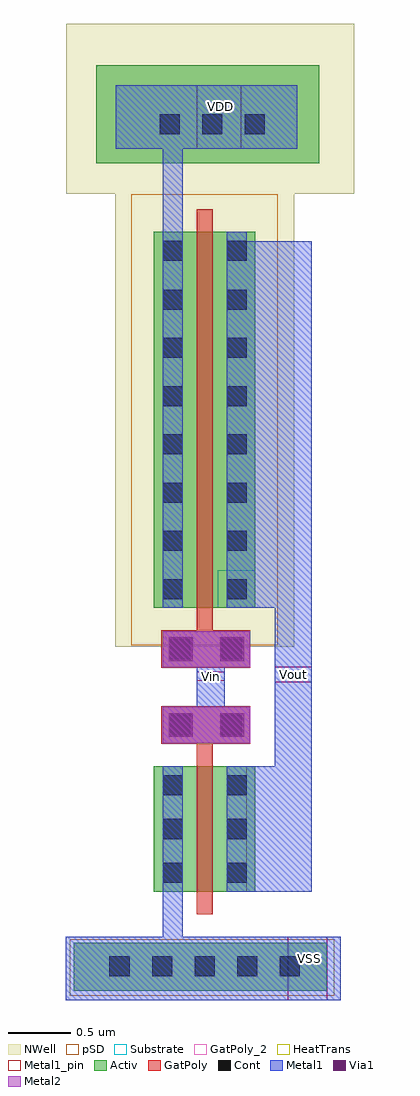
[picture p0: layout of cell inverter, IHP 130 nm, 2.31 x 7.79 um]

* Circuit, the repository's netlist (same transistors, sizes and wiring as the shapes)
** sch_path: /home/jsmoya07/Documents/inverter_tutorial/xschem/inverter.sch
.subckt inverter VDD Vout Vin VSS
*.PININFO Vin:I VDD:B Vout:B VSS:B
M1 Vout Vin VSS VSS sg13_lv_nmos w=1u l=0.13u ng=1 m=1
M2 Vout Vin VDD VDD sg13_lv_pmos w=3u l=0.13u ng=1 m=1
.ends
.end

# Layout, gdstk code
import gdstk
lib = gdstk.Library(unit=1e-6, precision=1e-09)
def R(c, l, rs):  # rectangles x0, y0, x1, y1
    for r in rs: c.add(gdstk.rectangle(r[:2], r[2:], *l))
def A(c, l, x, y, w, h, nx, ny, dx, dy):  # array of equal rectangles
    R(c, l, [(x+i*dx, y+j*dy, x+i*dx+w, y+j*dy+h) for i in range(nx) for j in range(ny)])
Activ = (1, 0)
GatPoly = (5, 0)
GatPoly_2 = (5, 2)
Cont = (6, 0)
Metal1 = (8, 0)
Metal1_pin = (8, 2)
Metal2 = (10, 0)
pSD = (14, 0)
Via1 = (19, 0)
NWell = (31, 0)
Substrate = (40, 0)
HeatTrans = (51, 0)

pmos = lib.new_cell('pmos')
R(pmos, Activ, [(0,0,0.3,0.3), (0,0,0.81,3), (0.51,0,0.81,0.3)])
R(pmos, GatPoly, [(0.34,-0.18,0.47,3.18), (0.34,-0.18,0.47,3.18)])
A(pmos, Cont, 0.07, 0.07, 0.16, 0.16, 1, 7, 0, 0.385)
A(pmos, Cont, 0.58, 0.07, 0.16, 0.16, 1, 7, 0, 0.385)
R(pmos, Cont, [(0.07,2.77,0.23,2.93), (0.58,2.77,0.74,2.93)])
R(pmos, Metal1, [(0.07,0,0.23,3), (0.07,0,0.23,3), (0.58,0,0.74,3), (0.58,0,0.74,3)])
R(pmos, pSD, [(-0.18,-0.3,0.99,3.3)])
R(pmos, NWell, [(-0.31,-0.31,1.12,3.31)])
R(pmos, Substrate, [(0.51,0,0.81,0.3)])
R(pmos, HeatTrans, [(0.34,-0.18,0.47,3.18)])
pmos.add(gdstk.Label('pmos', (0.405,1.5), layer=63, texttype=0))
pmos.add(gdstk.Label('pmos', (0.405,1.5), layer=51, texttype=0))

nmos_1 = lib.new_cell('nmos$1')
R(nmos_1, Activ, [(0,0,0.3,0.3), (0,0,0.81,1), (0.51,0,0.81,0.3)])
R(nmos_1, GatPoly, [(0.34,-0.18,0.47,1.18)])
R(nmos_1, GatPoly_2, [(0.34,-0.18,0.47,1.18)])
A(nmos_1, Cont, 0.07, 0.07, 0.16, 0.16, 1, 3, 0, 0.35)
A(nmos_1, Cont, 0.58, 0.07, 0.16, 0.16, 1, 3, 0, 0.35)
R(nmos_1, Metal1, [(0.07,0,0.23,1), (0.58,0,0.74,1)])
R(nmos_1, Metal1_pin, [(0.07,0,0.23,1), (0.58,0,0.74,1)])
R(nmos_1, HeatTrans, [(0.34,-0.18,0.47,1.18)])
nmos_1.add(gdstk.Label('nmos', (0.405,0.5), layer=63, texttype=0))
nmos_1.add(gdstk.Label('nmos', (0.405,0.5), layer=51, texttype=0))

inverter = lib.new_cell('inverter')
R(inverter, Activ, [(-0.32,-3.285,1.7,-2.905), (-0.14,3.32,1.64,4.1)])
R(inverter, GatPoly, [(0.38,-1.315,1.09,-1.015), (0.38,-1.315,1.09,-1.015), (0.38,-0.71,1.09,-0.41), (0.38,-0.71,1.09,-0.41)])
A(inverter, Cont, -0.035, -3.17, 0.16, 0.16, 5, 1, 0.34, 0)
A(inverter, Cont, 0.365, 3.55, 0.16, 0.16, 3, 1, 0.34, 0)
R(inverter, Cont, [(1.325,-3.17,1.485,-3.01), (0.45,-1.245,0.61,-1.085), (0.45,-1.245,0.61,-1.085), (0.86,-1.245,1.02,-1.085), (0.45,-0.64,0.61,-0.48), (0.45,-0.64,0.61,-0.48), (0.86,-0.64,1.02,-0.48)])
R(inverter, Metal1, [(-0.385,-3.36,1.81,-2.855), (0.39,-2.905,0.55,-2.495), (1.06,-2.495,1.285,-1.495), (1.285,-2.495,1.58,2.695), (0.39,-1.31,1.09,-1.02), (0.39,-1.31,1.09,-1.02), (0.39,-1.31,1.09,-1.02), (0.39,-1.31,1.09,-1.02), (0.39,-1.31,1.09,-1.02), (0.39,-1.31,1.09,-1.02), (0.66,-1.075,0.885,-0.665), (0.39,-0.705,1.09,-0.415), (0.39,-0.705,1.09,-0.415), (0.39,-0.705,1.09,-0.415), (0.39,-0.705,1.09,-0.415), (0.39,-0.705,1.09,-0.415), (0.39,-0.705,1.09,-0.415), (1.06,-0.23,1.285,2.695), (0.39,2.77,0.55,3.455), (0.015,3.435,1.465,3.94)])
R(inverter, Metal1_pin, [(1.39,-3.36,1.705,-2.855), (1.285,-0.825,1.58,-0.7), (0.66,-0.81,0.885,-0.74), (0.66,3.435,1.015,3.94)])
R(inverter, Metal2, [(0.39,-1.31,1.09,-1.02), (0.39,-1.31,1.09,-1.02), (0.39,-1.31,1.09,-1.02), (0.39,-1.31,1.09,-1.02), (0.39,-1.31,1.09,-1.02), (0.39,-1.31,1.09,-1.02), (0.39,-0.705,1.09,-0.415), (0.39,-0.705,1.09,-0.415), (0.39,-0.705,1.09,-0.415), (0.39,-0.705,1.09,-0.415), (0.39,-0.705,1.09,-0.415), (0.39,-0.705,1.09,-0.415)])
R(inverter, pSD, [(-0.35,-3.325,1.76,-2.875)])
R(inverter, Via1, [(0.44,-1.26,0.63,-1.07), (0.44,-1.26,0.63,-1.07), (0.44,-1.26,0.63,-1.07), (0.44,-1.26,0.63,-1.07), (0.44,-1.26,0.63,-1.07), (0.44,-1.26,0.63,-1.07), (0.85,-1.26,1.04,-1.07), (0.85,-1.26,1.04,-1.07), (0.85,-1.26,1.04,-1.07), (0.85,-1.26,1.04,-1.07), (0.85,-1.26,1.04,-1.07), (0.85,-1.26,1.04,-1.07), (0.44,-0.655,0.63,-0.465), (0.44,-0.655,0.63,-0.465), (0.44,-0.655,0.63,-0.465), (0.44,-0.655,0.63,-0.465), (0.44,-0.655,0.63,-0.465), (0.44,-0.655,0.63,-0.465), (0.85,-0.655,1.04,-0.465), (0.85,-0.655,1.04,-0.465), (0.85,-0.655,1.04,-0.465), (0.85,-0.655,1.04,-0.465), (0.85,-0.655,1.04,-0.465), (0.85,-0.655,1.04,-0.465)])
R(inverter, NWell, [(-0.38,3.075,1.92,4.43)])
inverter.add(gdstk.Reference(pmos, (0.32,-0.23)))
inverter.add(gdstk.Reference(nmos_1, (0.32,-2.495)))
inverter.add(gdstk.Label('VDD', (0.85,3.775), layer=8, texttype=2))
inverter.add(gdstk.Label('VSS', (1.56,-3.03), layer=8, texttype=2))
inverter.add(gdstk.Label('Vin', (0.78,-0.775), layer=8, texttype=2))
inverter.add(gdstk.Label('Vout', (1.43,-0.76), layer=8, texttype=2))

lib.write_gds('inverter.gds')
